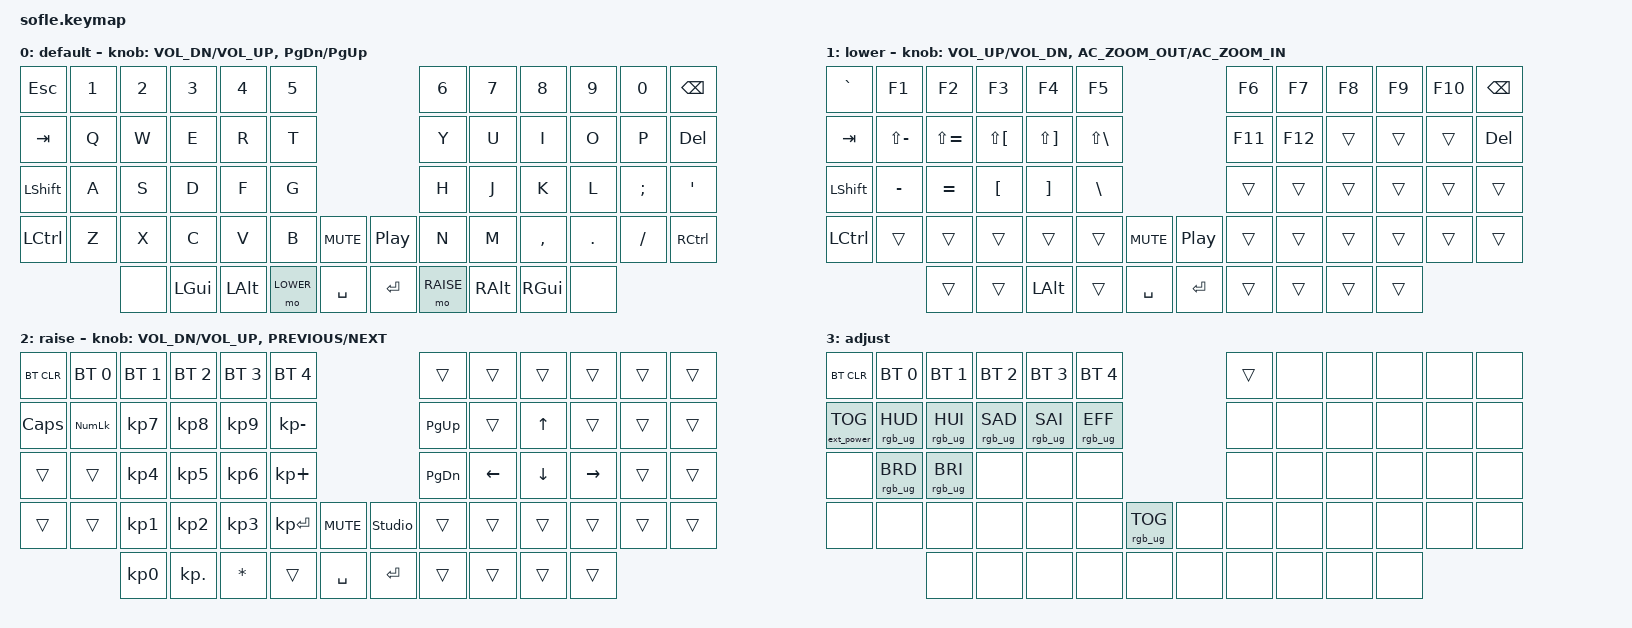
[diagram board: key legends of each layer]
/*
 * Copyright (c) 2020 The ZMK Contributors
 *
 * SPDX-License-Identifier: MIT
 */

#include <behaviors.dtsi>
#include <dt-bindings/zmk/bt.h>
#include <dt-bindings/zmk/ext_power.h>
#include <dt-bindings/zmk/keys.h>
#include <dt-bindings/zmk/rgb.h>

#define BASE 0
#define LOWER 1
#define RAISE 2
#define ADJUST 3

/ {
    // Activate ADJUST layer by pressing raise and lower

    conditional_layers {
        compatible = "zmk,conditional-layers";

        adjust_layer {
            if-layers = <LOWER RAISE>;
            then-layer = <ADJUST>;
        };
    };

    keymap {
        compatible = "zmk,keymap";

        default_layer {
            label = "default";

            // ------------------------------------------------------------------------------------------------------------
            // |   `   |  1  |  2  |  3   |  4   |  5   |                   |  6   |  7    |  8    |  9   |   0   |       |
            // |  ESC  |  Q  |  W  |  E   |  R   |  T   |                   |  Y   |  U    |  I    |  O   |   P   | BKSPC |
            // |  TAB  |  A  |  S  |  D   |  F   |  G   |                   |  H   |  J    |  K    |  L   |   ;   |   '   |
            // | SHIFT |  Z  |  X  |  C   |  V   |  B   |  MUTE  |  |       |  N   |  M    |  ,    |  .   |   /   | SHIFT |
            //               | GUI | ALT  | CTRL | LOWER|  ENTER |  | SPACE | RAISE| CTRL  | ALT   | GUI  |

            bindings = <
&kp ESC           &kp N1  &kp N2  &kp N3        &kp N4        &kp N5                                     &kp N6     &kp N7         &kp N8         &kp N9   &kp N0    &kp BACKSPACE
&kp TAB           &kp Q   &kp W   &kp E         &kp R         &kp T                                      &kp Y      &kp U          &kp I          &kp O    &kp P     &kp DEL
&kp LEFT_SHIFT    &kp A   &kp S   &kp D         &kp F         &kp G                                      &kp H      &kp J          &kp K          &kp L    &kp SEMI  &kp SQT
&kp LEFT_CONTROL  &kp Z   &kp X   &kp C         &kp V         &kp B      &kp C_MUTE    &kp C_PLAY_PAUSE  &kp N      &kp M          &kp COMMA      &kp DOT  &kp FSLH  &kp RIGHT_CONTROL
                          &none   &kp LEFT_GUI  &kp LEFT_ALT  &mo LOWER  &kp SPACE     &kp ENTER         &mo RAISE  &kp RIGHT_ALT  &kp RIGHT_GUI  &none
            >;

            sensor-bindings =
                <&inc_dec_kp C_VOL_DN C_VOL_UP>,
                <&inc_dec_kp PG_DN PG_UP>;
        };

        lower_layer {
            label = "lower";

            // TODO: Some binds are waiting for shifted keycode support.
            // ------------------------------------------------------------------------------------------------------------
            // |       |  F1 |  F2 |  F3  |  F4  |  F5  |                   |  F6  |  F7   |  F8   |  F9  |  F10  |  F11  |
            // |   `   |  1  |  2  |  3   |  4   |  5   |                   |  6   |  7    |  8    |  9   |   0   |  F12  |
            // |       |  !  |  @  |  #   |  $   |  %   |                   |  ^   |  &    |  *    |  (   |   )   |   |   |
            // |       |  =  |  -  |  +   |  {   |  }   |        |  |       |  [   |  ]    |  ;    |  :   |   \   |       |
            //               |     |      |      |      |        |  |       |      |       |       |      |

            bindings = <
&kp GRAVE         &kp F1         &kp F2         &kp F3                &kp F4                 &kp F5                                             &kp F6   &kp F7   &kp F8  &kp F9  &kp F10  &kp BACKSPACE
&kp TAB           &kp LS(MINUS)  &kp LS(EQUAL)  &kp LS(LEFT_BRACKET)  &kp LS(RIGHT_BRACKET)  &kp LS(BACKSLASH)                                  &kp F11  &kp F12  &trans  &trans  &trans   &kp DEL
&kp LEFT_SHIFT    &kp MINUS      &kp EQUAL      &kp LEFT_BRACKET      &kp RIGHT_BRACKET      &kp BACKSLASH                                      &trans   &trans   &trans  &trans  &trans   &trans
&kp LEFT_CONTROL  &trans         &trans         &trans                &trans                 &trans             &kp C_MUTE    &kp C_PLAY_PAUSE  &trans   &trans   &trans  &trans  &trans   &trans
                                 &trans         &trans                &kp LEFT_ALT           &trans             &kp SPACE     &kp ENTER         &trans   &trans   &trans  &trans
            >;

            sensor-bindings =
                <&inc_dec_kp C_VOL_UP C_VOL_DN>,
                <&inc_dec_kp C_AC_ZOOM_OUT C_AC_ZOOM_IN>;
        };

        raise_layer {
            label = "raise";

            // ------------------------------------------------------------------------------------------------------------
            // | BTCLR | BT1  | BT2  |  BT3  |  BT4  |  BT5 |                |      |      |       |      |       |       |
            // |       | INS  | PSCR | GUI   |       |      |                | PGUP |      |   ^   |      |       |       |
            // |       | ALT  | CTRL | SHIFT |       | CAPS |                | PGDN |   <- |   v   |  ->  |  DEL  | BKSPC |
            // |       | UNDO | CUT  | COPY  | PASTE |      |      |  |      |      |      |       |      |       |       |
            //                |      |       |       |      |      |  |      |      |      |       |      |

            bindings = <
&bt BT_CLR  &bt BT_SEL 0    &bt BT_SEL 1     &bt BT_SEL 2     &bt BT_SEL 3     &bt BT_SEL 4                                &trans     &trans    &trans    &trans     &trans  &trans
&kp CAPS    &kp KP_NUMLOCK  &kp KP_NUMBER_7  &kp KP_NUMBER_8  &kp KP_NUMBER_9  &kp KP_MINUS                                &kp PG_UP  &trans    &kp UP    &trans     &trans  &trans
&trans      &trans          &kp KP_NUMBER_4  &kp KP_NUMBER_5  &kp KP_NUMBER_6  &kp KP_PLUS                                 &kp PG_DN  &kp LEFT  &kp DOWN  &kp RIGHT  &trans  &trans
&trans      &trans          &kp KP_NUMBER_1  &kp KP_NUMBER_2  &kp KP_NUMBER_3  &kp KP_ENTER  &kp C_MUTE    &studio_unlock  &trans     &trans    &trans    &trans     &trans  &trans
                            &kp KP_NUMBER_0  &kp KP_DOT       &kp STAR         &trans        &kp SPACE     &kp ENTER       &trans     &trans    &trans    &trans
            >;

            sensor-bindings =
                <&inc_dec_kp C_VOL_DN C_VOL_UP>,
                <&inc_dec_kp C_PREVIOUS C_NEXT>;
        };

        adjust_layer {
            // ----------------------------------------------------------------------------------------------------------------------------
            // | BTCLR  |  BT1    |  BT2    |   BT3   |   BT4   |   BT5   |                  |      |      |       |      |       |       |
            // | EXTPWR | RGB_HUD | RGB_HUI | RGB_SAD | RGB_SAI | RGB_EFF |                  |      |      |       |      |       |       |
            // |        | RGB_BRD | RGB_BRI |         |         |         |                  |      |      |       |      |       |       |
            // |        |         |         |         |         |         | RGB_TOG | |      |      |      |       |      |       |       |
            //                    |         |         |         |         |         | |      |      |      |       |      |

            label = "adjust";
            bindings = <
&bt BT_CLR         &bt BT_SEL 0     &bt BT_SEL 1     &bt BT_SEL 2     &bt BT_SEL 3     &bt BT_SEL 4                               &trans  &none  &none  &none  &none  &none
&ext_power EP_TOG  &rgb_ug RGB_HUD  &rgb_ug RGB_HUI  &rgb_ug RGB_SAD  &rgb_ug RGB_SAI  &rgb_ug RGB_EFF                            &none   &none  &none  &none  &none  &none
&none              &rgb_ug RGB_BRD  &rgb_ug RGB_BRI  &none            &none            &none                                      &none   &none  &none  &none  &none  &none
&none              &none            &none            &none            &none            &none            &rgb_ug RGB_TOG    &none  &none   &none  &none  &none  &none  &none
                                    &none            &none            &none            &none            &none              &none  &none   &none  &none  &none
            >;
        };
    };
};
